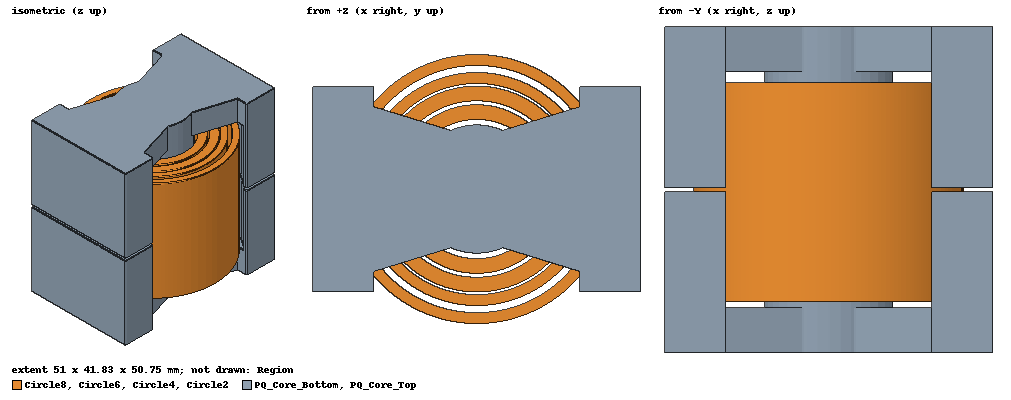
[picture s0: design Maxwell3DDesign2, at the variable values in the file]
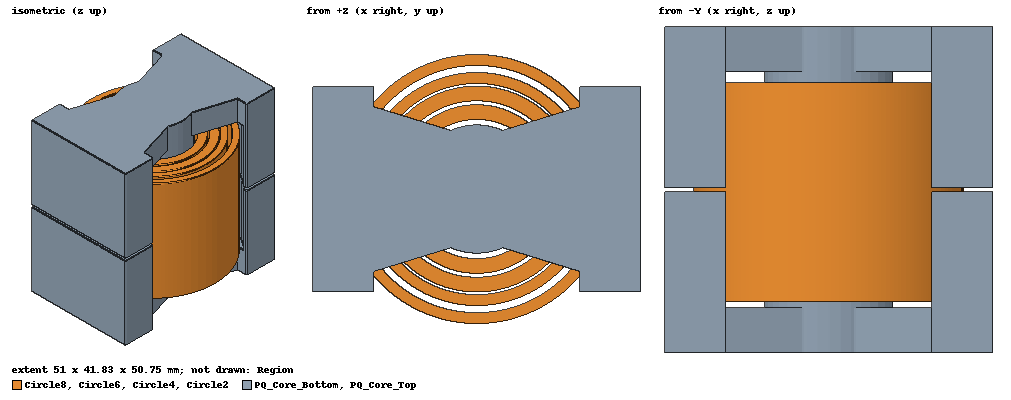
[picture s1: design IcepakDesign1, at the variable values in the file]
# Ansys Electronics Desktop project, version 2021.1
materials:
  copper: permeability=0.999991 conductivity=58000000 thermal_conductivity=400 mass_density=8933 specific_heat=385 youngs_modulus=120000000000 poissons_ratio=0.38 thermal_expansion_coefficient=1.77e-05
  ferrite1: permittivity=1 permeability=5000 thermal_conductivity=4 core_loss_type="Power Ferrite" core_loss_cm=7.52983 core_loss_x=1.344098 core_loss_y=2.75834 mass_density=4600 specific_heat=750 youngs_modulus=119000000000 thermal_expansion_coefficient=1e-05 core_loss_equiv_cut_depth=0.001meter
  vacuum: permittivity=1
  Al-Extruded: thermal_conductivity=205 mass_density=2800 specific_heat=900 youngs_modulus=69000000000 poissons_ratio=0.33 thermal_expansion_coefficient=2.277e-06 thermal_material_type=Solid
  air: permittivity=1.0006 permeability=1.0000004 thermal_conductivity=0.0261 mass_density=1.1614 specific_heat=1005 thermal_expansion_coefficient=0.00333 thermal_material_type=Fluid diffusivity=2.88e-05 molecular_mass=0.028966 viscosity=1.84e-05 material_refractive_index=1.000293
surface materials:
  Steel-oxidised-surface: surface_emissivity=0.8

design Maxwell3DDesign2 (Maxwell 3D, EddyCurrent, model units mm)
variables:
  N1 = 12
  N2 = 12
  Vp = 200V
  Rload = 40ohm
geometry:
  PQ_Core_Bottom [ferrite1] = box(corner=(-25.5mm, -16mm, -25mm), size=(9.5mm, 32mm, 25mm))
  Polyline1 = polyline(z=-25mm, xy in mm: (-16, -12.8) (-16, 12.8) (-4.075, 9.1320521) (-4.075, -9.1320521) (-16, -12.8), closed, covered)
  Polyline1.sweep_along_vector((0mm, 0mm, 25mm))
  PQ_Core_Bottom.unite(Polyline1)
  XCyl1 = cylinder(axis=Z, base_centre=(0mm, 0mm, -18.05mm), radius=22mm, height=18.05mm, segments=36)
  PQ_Core_Bottom.subtract(XCyl1)
  PQ_Core_Bottom_1 = PQ_Core_Bottom.duplicate_mirror(point=(0mm, 0mm, 0mm), normal=(1mm, 0mm, 0mm))
  XCyl2 = cylinder(axis=Z, base_centre=(0mm, 0mm, -25mm), radius=10mm, height=24.95mm, segments=36)
  PQ_Core_Bottom.unite(PQ_Core_Bottom_1, XCyl2)
  PQ_Core_Top [ferrite1] = PQ_Core_Bottom.duplicate_mirror(point=(0mm, 0mm, 0mm), normal=(0mm, 0mm, 1mm))
  PQ_Core_Top.move(0mm, 0mm, 0.75mm)
  Region [vacuum] = region(percentage_offset=30 on all sides)
  Circle1 = circle(normal=Z, centre=(0mm, 0mm, -0.05mm), radius=10.816654mm)
  Circle2 [copper] = circle(normal=Z, centre=(0mm, 0mm, -0.05mm), radius=(10.816653826392+1.35*1.4+0.4) mm)
  Circle3 = circle(normal=Z, centre=(0mm, 0mm, -0.05mm), radius=(10.816653826392+1.5+1.4) mm)
  Circle4 [copper] = circle(normal=Z, centre=(0mm, 0mm, -0.05mm), radius=(10.816653826392+1.5+1.8+1.35*1.4) mm)
  Circle5 = circle(normal=Z, centre=(0mm, 0mm, -0.05mm), radius=(10.816653826392+1.5+1+1.5+1.6) mm)
  Circle6 [copper] = circle(normal=Z, centre=(0mm, 0mm, -0.05mm), radius=(10.816653826392+1.5+1+1.5+1.8+1.5) mm)
  Circle7 = circle(normal=Z, centre=(0mm, 0mm, -0.05mm), radius=(10.816653826392+1.5+1+1.5+1+1.6+1.8) mm)
  Circle8 [copper] = circle(normal=Z, centre=(0mm, 0mm, -0.05mm), radius=(10.816653826392+1.5+1+1.5+1+1.6+2+1.5) mm)
  Circle2.subtract(Circle1)
  Circle4.subtract(Circle3)
  Circle6.subtract(Circle5)
  Circle8.subtract(Circle7)
  [Circle2, Circle4, Circle6, Circle8].sweep_along_vector((0mm, 0mm, (-17*2) mm))
  [Circle2, Circle4, Circle6, Circle8].move(0mm, 0mm, 17mm)
  Circle2_Section1 [copper] = Circle2.section(plane=ZX)
  Circle4_Section1 [copper] = Circle4.section(plane=ZX)
  Circle6_Section1 [copper] = Circle6.section(plane=ZX)
  Circle8_Section1 [copper] = Circle8.section(plane=ZX)
  Circle2_Section1.separate_bodies()
  Circle4_Section1.separate_bodies()
  Circle6_Section1.separate_bodies()
  Circle8_Section1.separate_bodies()
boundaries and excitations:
  pri_1: Coil Terminal Objects=Circle2_Section1 Conductor_number=12 Winding=Winding1 Point_out_of_terminal=false
  pri_2: Coil Terminal Objects=Circle4_Section1 Conductor_number=12 Winding=Winding1 Point_out_of_terminal=false
  sec_1: Coil Terminal Objects=Circle6_Section1 Conductor_number=10 Winding=Winding2 Point_out_of_terminal=true
  sec_2: Coil Terminal Objects=Circle8_Section1 Conductor_number=10 Winding=Winding2 Point_out_of_terminal=true
  Winding1: Winding Group Type=Current IsSolid=false Current=0.024A ParallelBranchesNum=500 Phase=0deg
  Winding2: Winding Group Type=Voltage IsSolid=false Current=0mA Resistance=23.2ohm Inductance=0nH Voltage=0mV ParallelBranchesNum=1 Phase=0deg
  eddy effects on: Circle2, Circle4, Circle6, Circle8
  core loss on: PQ_Core_Bottom, PQ_Core_Top
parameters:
  Matrix1: Matrix Winding1, Winding2:
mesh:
  Length_core: LengthBased RefineInside Objects=[PQ_Core_Bottom, PQ_Core_Top] MaxLength=2.55mm
  initial mesh: GlobalCurvilinear{Apply}
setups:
  Setup1: EddyCurrent MaximumPasses=10 MinimumPasses=2 MinimumConvergedPasses=1 PercentRefinement=30 PercentError=1 NonLinearResidual=0.0001 Frequency=29.6kHz
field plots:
  Ohmic_Loss1, Ohmic_Loss3: Ohmic-Loss over Circle8 on Setup1 : LastAdaptive at Freq=29.6kHz Phase=0deg
  Ohmic_Loss2: Ohmic-Loss over Circle2, Circle4, Circle6, Circle8 on Setup1 : LastAdaptive at Freq=29.6kHz Phase=0deg
  Ohmic_Loss4: Ohmic-Loss over Circle2 on Setup1 : LastAdaptive at Freq=29.6kHz Phase=0deg

design IcepakDesign1 (Icepak, SteadyState TemperatureAndFlow, model units mm)
options: Default_Fluid_Material=air Default_Solid_Material=Al-Extruded Default_Surface_Material=Steel-oxidised-surface AmbientTemperature=20cel AmbientPressure=0n_per_meter_sq AmbientRadiationTemperature=20cel Gravity_Vector_CS_ID=Global Gravity_Vector_Axis=Z Positive=false
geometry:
  Region [air] = region(percentage_offset=50 on all sides)
  PQ_Core_Bottom [ferrite1] = box(corner=(-25.5mm, -16mm, -25mm), size=(9.5mm, 32mm, 25mm))
  Polyline1 = polyline(z=-25mm, xy in mm: (-16, -12.8) (-16, 12.8) (-4.075, 9.1320521) (-4.075, -9.1320521) (-16, -12.8), closed, covered)
  Polyline1.sweep_along_vector((0mm, 0mm, 25mm))
  PQ_Core_Bottom.unite(Polyline1)
  XCyl1 = cylinder(axis=Z, base_centre=(0mm, 0mm, -18.05mm), radius=22mm, height=18.05mm, segments=36)
  PQ_Core_Bottom.subtract(XCyl1)
  PQ_Core_Bottom_1 = PQ_Core_Bottom.duplicate_mirror(point=(0mm, 0mm, 0mm), normal=(1mm, 0mm, 0mm))
  XCyl2 = cylinder(axis=Z, base_centre=(0mm, 0mm, -25mm), radius=10mm, height=24.95mm, segments=36)
  PQ_Core_Bottom.unite(PQ_Core_Bottom_1, XCyl2)
  PQ_Core_Top [ferrite1] = PQ_Core_Bottom.duplicate_mirror(point=(0mm, 0mm, 0mm), normal=(0mm, 0mm, 1mm))
  PQ_Core_Top.move(0mm, 0mm, 0.75mm)
  Circle2 [copper] = circle(normal=Z, centre=(0mm, 0mm, -0.05mm), radius=(10.816653826392+1.35*1.4+0.4) mm)
  Circle1 = circle(normal=Z, centre=(0mm, 0mm, -0.05mm), radius=10.816654mm)
  Circle2.subtract(Circle1)
  Circle2.sweep_along_vector((0mm, 0mm, (-17*2) mm))
  Circle2.move(0mm, 0mm, 17mm)
  Circle2_Section1 [copper] = Circle2.section(plane=ZX)
  Circle4 [copper] = circle(normal=Z, centre=(0mm, 0mm, -0.05mm), radius=(10.816653826392+1.5+1.8+1.35*1.4) mm)
  Circle3 = circle(normal=Z, centre=(0mm, 0mm, -0.05mm), radius=(10.816653826392+1.5+1.4) mm)
  Circle4.subtract(Circle3)
  Circle4.sweep_along_vector((0mm, 0mm, (-17*2) mm))
  Circle4.move(0mm, 0mm, 17mm)
  Circle4_Section1 [copper] = Circle4.section(plane=ZX)
  Circle6 [copper] = circle(normal=Z, centre=(0mm, 0mm, -0.05mm), radius=(10.816653826392+1.5+1+1.5+1.8+1.5) mm)
  Circle5 = circle(normal=Z, centre=(0mm, 0mm, -0.05mm), radius=(10.816653826392+1.5+1+1.5+1.6) mm)
  Circle6.subtract(Circle5)
  Circle6.sweep_along_vector((0mm, 0mm, (-17*2) mm))
  Circle6.move(0mm, 0mm, 17mm)
  Circle6_Section1 [copper] = Circle6.section(plane=ZX)
  Circle8 [copper] = circle(normal=Z, centre=(0mm, 0mm, -0.05mm), radius=(10.816653826392+1.5+1+1.5+1+1.6+2+1.5) mm)
  Circle7 = circle(normal=Z, centre=(0mm, 0mm, -0.05mm), radius=(10.816653826392+1.5+1+1.5+1+1.6+1.8) mm)
  Circle8.subtract(Circle7)
  Circle8.sweep_along_vector((0mm, 0mm, (-17*2) mm))
  Circle8.move(0mm, 0mm, 17mm)
  Circle8_Section1 [copper] = Circle8.section(plane=ZX)
  Circle2_Section1.separate_bodies()
  Circle4_Section1.separate_bodies()
  Circle6_Section1.separate_bodies()
  Circle8_Section1.separate_bodies()
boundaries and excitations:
  EMLoss1: EM Loss Objects=[Circle2, Circle4, Circle6, Circle8] LinkID=2 Project="This Project*" Product=ElectronicsDesktop Design=Maxwell3DDesign2 Params{N1=12 N2=12 Rload=40ohm Vp=200V} PathRelativeTo=TargetProject Intrinsics(29.6kHz) LossMultiplier=1
  EMLoss2: EM Loss Objects=[PQ_Core_Bottom, PQ_Core_Top] LinkID=5 Project="This Project*" Product=ElectronicsDesktop Design=Maxwell3DDesign2 Params{N1=12 N2=12 Rload=40ohm Vp=200V} PathRelativeTo=TargetProject Intrinsics(29.6kHz) LossMultiplier=1
  Opening1: Opening Faces=Region.face(+y) Temperature=AmbientTemp External_Rad._Temperature=AmbientRadTemp Inlet_Type=Velocity Static_Pressure=AmbientPressure X_Velocity=0m_per_sec Y_Velocity=-0.2m_per_sec Z_Velocity=0m_per_sec
  Opening2: Opening Faces=Region.face(-y) Temperature=AmbientTemp External_Rad._Temperature=AmbientRadTemp Inlet_Type=Pressure Total_Pressure=AmbientPressure
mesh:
  MeshRegions:  Global{MeshMethod=MesherHD ComputeGap MeshRegionResolution=3 MinGapX=1mm MinGapY=1mm MinGapZ=1mm Objects=Region FacetLevel=3 ProximitySizeFunction CurvatureSizeFunction}
  MeshOperations:
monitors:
  PointMonitor1: Quantities(19) Objects=PQ_Core_Bottom
  PointMonitor2: Quantities(19) Objects=PQ_Core_Top
  PointMonitor3: Quantities(8) Faces=Region.face(-y)
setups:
  Setup1: IcepakSteadyState Flow_Regime=Turbulent Turbulent_Model_Eqn=ZeroEquation Include_Temperature=true Include_Flow=true Solution_Initialization_-_Turbulent_Kinetic_Energy=1m2_per_s2 Solution_Initialization_-_Turbulent_Dissipation_Rate=1m2_per_s3 Solution_Initialization_-_Specific_Dissipation_Rate=1diss_per_s Convergence_Criteria_-_Flow=0.001 Convergence_Criteria_-_Energy=1e-07 Convergence_Criteria_-_Turbulent_Kinetic_Energy=0.001 Convergence_Criteria_-_Turbulent_Dissipation_Rate=0.001 Convergence_Criteria_-_Specific_Dissipation_Rate=0.001 disabled Radiation_Model=Off Under-relaxation_-_Pressure=0.3 Under-relaxation_-_Momentum=0.7 Under-relaxation_-_Temperature=1 Under-relaxation_-_Turbulent_Kinetic_Energy=0.8 Under-relaxation_-_Turbulent_Dissipation_Rate=0.8 Under-relaxation_-_Specific_Dissipation_Rate=0.8 Discretization_Scheme_-_Pressure=Standard Discretization_Scheme_-_Momentum=First Discretization_Scheme_-_Temperature=First Discretization_Scheme_-_Turbulent_Kinetic_Energy=First Discretization_Scheme_-_Turbulent_Dissipation_Rate=First Discretization_Scheme_-_Specific_Dissipation_Rate=First Convergence_Criteria_-_Max_Iterations=100
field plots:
  Temperature1: Temperature over Circle2, Circle4, Circle8, Circle6, PQ_Core_Bottom, PQ_Core_Top on Setup1 : SteadyState
